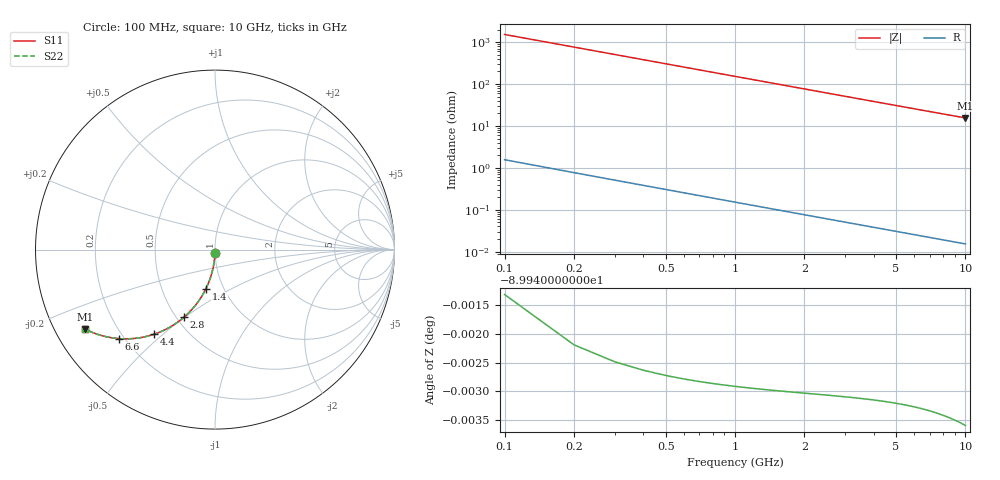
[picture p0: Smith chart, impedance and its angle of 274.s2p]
# Hz S RI R 50.00
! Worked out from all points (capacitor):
!   100 points, 100 MHz to 10 GHz, reference 50 ohm
!   read as one part in shunt: C = 1.04 pF near 100 MHz
!   lowest |Z| = 15.5 ohm at 10 GHz (marker M1)
!   S11 on the Smith chart (normalised r, x): 100 MHz: 1.00, -0.03; 1.4 GHz: 0.83, -0.38; 2.8 GHz: 0.55, -0.50; 4.4 GHz: 0.33, -0.47; 6.6 GHz: 0.18, -0.38; 10 GHz: 0.09, -0.28
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1e8  -0.000278 -0.0163  0.9997 -0.0164  0.9997 -0.0164  -0.000278 -0.0163
2e8  -0.0011 -0.0327  0.9989 -0.0328  0.9989 -0.0328  -0.0011 -0.0327
3e8  -0.00245 -0.0489  0.9975 -0.0491  0.9975 -0.0491  -0.00245 -0.0489
4e8  -0.00433 -0.0651  0.9957 -0.0654  0.9957 -0.0654  -0.00433 -0.0651
5e8  -0.00673 -0.0811  0.9933 -0.0815  0.9933 -0.0815  -0.00673 -0.0811
6e8  -0.00965 -0.0971  0.9903 -0.0975  0.9903 -0.0975  -0.00965 -0.0971
7e8  -0.0131 -0.1128  0.9869 -0.1133  0.9869 -0.1133  -0.0131 -0.1128
9e8  -0.0214 -0.1438  0.9786 -0.1445  0.9786 -0.1445  -0.0214 -0.1438
1.1e9  -0.0315 -0.1739  0.9684 -0.1747  0.9684 -0.1747  -0.0315 -0.1739
1.4e9  -0.05 -0.217  0.95 -0.218  0.95 -0.218  -0.05 -0.217
1.8e9  -0.0799 -0.27  0.9201 -0.2713  0.9201 -0.2713  -0.0799 -0.27
2.3e9  -0.1239 -0.3281  0.8761 -0.3298  0.8761 -0.3298  -0.1239 -0.3281
2.8e9  -0.1729 -0.3767  0.8271 -0.3787  0.8271 -0.3787  -0.1729 -0.3767
3.4e9  -0.2352 -0.4224  0.7648 -0.4248  0.7648 -0.4248  -0.2352 -0.4224
4.4e9  -0.339 -0.4713  0.661 -0.4745  0.661 -0.4745  -0.339 -0.4713
5.1e9  -0.4074 -0.489  0.5926 -0.4927  0.5926 -0.4927  -0.4074 -0.489
5.8e9  -0.4701 -0.4965  0.5299 -0.5007  0.5299 -0.5007  -0.4701 -0.4965
6.6e9  -0.5341 -0.4959  0.4659 -0.5007  0.4659 -0.5007  -0.5341 -0.4959
6.7e9  -0.5415 -0.4953  0.4585 -0.5002  0.4585 -0.5002  -0.5415 -0.4953
7.5e9  -0.5963 -0.4874  0.4037 -0.4929  0.4037 -0.4929  -0.5963 -0.4874
8.4e9  -0.649 -0.4737  0.351 -0.4798  0.351 -0.4798  -0.649 -0.4737
1e10  -0.7233 -0.4432  0.2767 -0.4505  0.2767 -0.4505  -0.7233 -0.4432
